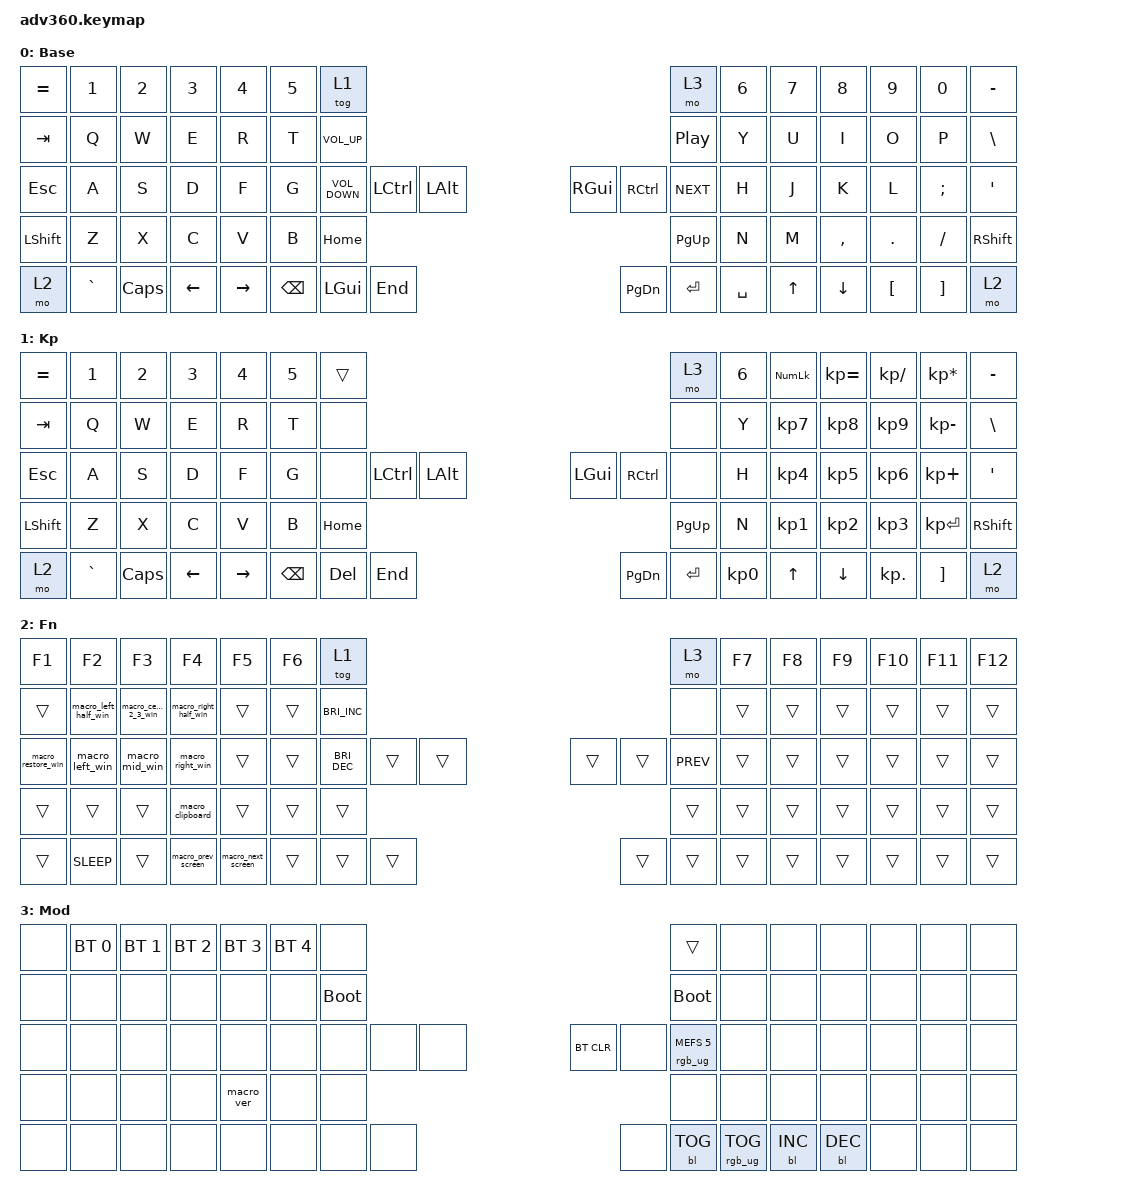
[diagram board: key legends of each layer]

/*
 * Copyright (c) 2020 The ZMK Contributors
 *
 * SPDX-License-Identifier: MIT
 */


/* THIS FILE WAS GENERATED!
 *
 * This file was generated automatically. You may or may not want to
 * edit it directly.
 */

#include <behaviors.dtsi>
#include <dt-bindings/zmk/keys.h>
#include <dt-bindings/zmk/bt.h>
#include <dt-bindings/zmk/rgb.h>
#include <dt-bindings/zmk/stp.h>
#include <dt-bindings/zmk/backlight.h>
#include <dt-bindings/zmk/pointing.h>

/ {

    behaviors {
      #include "macros.dtsi"
      #include "version.dtsi"


    hm: homerow_mods {
        compatible = "zmk,behavior-hold-tap";
        label = "HOMEROW_MODS";
        #binding-cells = <2>;
        tapping-term-ms = <200>;
        quick_tap_ms = <175>;
        flavor = "tap-preferred";
        bindings = <&kp>, <&kp>;
    };
  };

    keymap {
        compatible = "zmk,keymap";


        default_layer {
            display-name = "Base";
            bindings = <
 &kp EQUAL     &kp N1    &kp N2    &kp N3     &kp N4  &kp N5                       &tog 1                                                                        &mo 3  &kp N6  &kp N7     &kp N8    &kp N9    &kp N0  &kp MINUS
   &kp TAB      &kp Q     &kp W     &kp E      &kp R   &kp T              &kp C_VOLUME_UP                                                             &kp C_PLAY_PAUSE   &kp Y   &kp U      &kp I     &kp O     &kp P   &kp BSLH
   &kp ESC      &kp A     &kp S     &kp D      &kp F   &kp G            &kp C_VOLUME_DOWN  &kp LCTRL  &kp LALT                   &kp RGUI  &kp RCTRL        &kp C_NEXT   &kp H   &kp J      &kp K     &kp L  &kp SEMI    &kp SQT
 &kp LSHFT      &kp Z     &kp X     &kp C      &kp V   &kp B                                          &kp HOME                  &kp PG_UP                                &kp N   &kp M  &kp COMMA   &kp DOT  &kp FSLH  &kp RSHFT
     &mo 2  &kp GRAVE  &kp CAPS  &kp LEFT  &kp RIGHT                             &kp BSPC   &kp LGUI   &kp END                  &kp PG_DN  &kp ENTER         &kp SPACE          &kp UP   &kp DOWN  &kp LBKT  &kp RBKT      &mo 2
            >;
        };

        keypad {
            display-name = "Kp";
            bindings = <
 &kp EQUAL     &kp N1    &kp N2    &kp N3     &kp N4  &kp N5              &trans                                                                 &mo 3  &kp N6  &kp KP_NUM  &kp KP_EQUAL  &kp KP_DIVIDE  &kp KP_MULTIPLY  &kp MINUS
   &kp TAB      &kp Q     &kp W     &kp E      &kp R   &kp T               &none                                                                 &none   &kp Y   &kp KP_N7     &kp KP_N8      &kp KP_N9     &kp KP_MINUS   &kp BSLH
   &kp ESC      &kp A     &kp S     &kp D      &kp F   &kp G               &none  &kp LCTRL  &kp LALT                   &kp LGUI  &kp RCTRL      &none   &kp H   &kp KP_N4     &kp KP_N5      &kp KP_N6      &kp KP_PLUS    &kp SQT
 &kp LSHFT      &kp Z     &kp X     &kp C      &kp V   &kp B                                 &kp HOME                  &kp PG_UP                         &kp N   &kp KP_N1     &kp KP_N2      &kp KP_N3     &kp KP_ENTER  &kp RSHFT
     &mo 2  &kp GRAVE  &kp CAPS  &kp LEFT  &kp RIGHT                    &kp BSPC    &kp DEL   &kp END                  &kp PG_DN  &kp ENTER  &kp KP_N0              &kp UP      &kp DOWN     &kp KP_DOT         &kp RBKT      &mo 2
            >;
        };

        fn {
            display-name = "Fn";
            bindings = <
             &kp F1                &kp F2                 &kp F3                 &kp F4              &kp F5  &kp F6                          &tog 1                                                       &mo 3  &kp F7  &kp F8  &kp F9  &kp F10  &kp F11  &kp F12
             &trans  &macro_left_half_win  &macro_center_2_3_win  &macro_right_half_win              &trans  &trans            &kp C_BRIGHTNESS_INC                                                       &none  &trans  &trans  &trans   &trans   &trans   &trans
 &macro_restore_win       &macro_left_win         &macro_mid_win       &macro_right_win              &trans  &trans            &kp C_BRIGHTNESS_DEC  &trans  &trans                  &trans  &trans  &kp C_PREV  &trans  &trans  &trans   &trans   &trans   &trans
             &trans                &trans                 &trans       &macro_clipboard              &trans  &trans                                          &trans                  &trans                      &trans  &trans  &trans   &trans   &trans   &trans
             &trans           &kp C_SLEEP                 &trans     &macro_prev_screen  &macro_next_screen                                  &trans  &trans  &trans                  &trans  &trans      &trans          &trans  &trans   &trans   &trans   &trans
            >;
        };

        mod {
            display-name = "Mod";
            bindings = <
  &none  &bt BT_SEL 0  &bt BT_SEL 1  &bt BT_SEL 2  &bt BT_SEL 3  &bt BT_SEL 4                  &none                                                                          &trans   &none       &none       &none   &none   &none   &none
  &none         &none         &none         &none         &none         &none            &bootloader                                                                     &bootloader   &none       &none       &none   &none   &none   &none
  &none         &none         &none         &none         &none         &none                  &none   &none   &none                  &bt BT_CLR       &none  &rgb_ug RGB_MEFS_CMD 5   &none       &none       &none   &none   &none   &none
  &none         &none         &none         &none    &macro_ver         &none                                  &none                       &none                                       &none       &none       &none   &none   &none   &none
  &none         &none         &none         &none         &none                                &none   &none   &none                       &none  &bl BL_TOG         &rgb_ug RGB_TOG          &bl BL_INC  &bl BL_DEC   &none   &none   &none
            >;
        };

/*
    default_layer {
      display-name = "Base";
      bindings = <
        &kp EQUAL &kp N1    &kp N2   &kp N3   &kp N4     &kp N5 &tog 1                                                           &mo 3 &kp N6 &kp N7 &kp N8    &kp N9   &kp N0   &kp MINUS
        &kp TAB   &kp Q     &kp W    &kp E    &kp R      &kp T  &none                                                            &none &kp Y  &kp U  &kp I     &kp O    &kp P    &kp BSLH
        &kp ESC   &kp A     &kp S    &kp D    &kp F      &kp G  &none           &kp LCTRL &kp LALT &kp LGUI  &kp RCTRL           &none &kp H  &kp J  &kp K     &kp L    &kp SEMI &kp SQT
        &kp LSHFT &kp Z     &kp X    &kp C    &kp V      &kp B                            &kp HOME &kp PG_UP                           &kp N  &kp M  &kp COMMA &kp DOT  &kp FSLH &kp RSHFT
        &mo 2     &kp GRAVE &kp CAPS &kp LEFT &kp RIGHT                &kp BSPC &kp DEL   &kp END  &kp PG_DN &kp ENTER &kp SPACE              &kp UP &kp DOWN  &kp LBKT &kp RBKT &mo 2
      >;
    };
    keypad {
      display-name = "Kp";
      bindings = <
        &kp EQUAL &kp N1    &kp N2   &kp N3   &kp N4     &kp N5 &trans                                                           &mo 3 &kp N6 &kp KP_NUM &kp KP_EQUAL &kp KP_DIVIDE &kp KP_MULTIPLY &kp MINUS
        &kp TAB   &kp Q     &kp W    &kp E    &kp R      &kp T  &none                                                            &none &kp Y  &kp KP_N7  &kp KP_N8    &kp KP_N9     &kp KP_MINUS    &kp BSLH
        &kp ESC   &kp A     &kp S    &kp D    &kp F      &kp G  &none           &kp LCTRL &kp LALT &kp LGUI  &kp RCTRL           &none &kp H  &kp KP_N4  &kp KP_N5    &kp KP_N6     &kp KP_PLUS     &kp SQT
        &kp LSHFT &kp Z     &kp X    &kp C    &kp V      &kp B                            &kp HOME &kp PG_UP                           &kp N  &kp KP_N1  &kp KP_N2    &kp KP_N3     &kp KP_ENTER    &kp RSHFT
        &mo 2     &kp GRAVE &kp CAPS &kp LEFT &kp RIGHT                &kp BSPC &kp DEL   &kp END  &kp PG_DN &kp ENTER &kp KP_N0              &kp UP     &kp DOWN     &kp KP_DOT    &kp RBKT        &mo 2
      >;
    };
    fn {
      display-name = "Fn";
      bindings = <
        &kp F1 &kp F2 &kp F3 &kp F4 &kp F5 &kp F6 &tog 1                                           &mo 3 &kp F7 &kp F8 &kp F9 &kp F10 &kp F11 &kp F12
        &trans &trans &trans &trans &trans &trans  &none                                           &none &trans &trans &trans &trans  &trans  &trans
        &trans &trans &trans &trans &trans &trans  &none        &trans &trans &trans &trans        &none &trans &trans &trans &trans  &trans  &trans
        &trans &trans &trans &trans &trans &trans                      &trans &trans                     &trans &trans &trans &trans  &trans  &trans
        &trans &trans &trans &trans &trans               &trans &trans &trans &trans &trans &trans              &trans &trans &trans  &trans  &trans
      >;
    };
    mod {
      display-name = "Mod";
      bindings = <
        &none &bt BT_SEL 0 &bt BT_SEL 1 &bt BT_SEL 2 &bt BT_SEL 3 &bt BT_SEL 4 &none                                                                     &trans                 &none        &none        &none        &none &none &none
        &none &none        &none        &none        &none        &none        &bootloader                                                               &bootloader            &none        &none        &none        &none &none &none
        &studio_unlock &none        &none        &none        &none        &none        &none                   &none &none &bt BT_CLR &none                      &stp STP_BAT &none        &none        &none        &none &none &none
        &none &none        &none        &none        &macro_ver   &none                                      &none &none                                                        &none        &none        &none        &none &none &none
        &none &none        &none        &none        &none                                       &none &none &none &none      &bl BL_TOG &rgb_ug RGB_TOG                                     &bl BL_INC   &bl BL_DEC   &none &none &none
      >;
    };
*/
    extra1 { 
      display-name = "Red";    
      status = "reserved";
    };

    extra2 { 
      display-name = "Purple";    
      status = "reserved";
    };

    extra3 { 
      display-name = "Cyan";    
      status = "reserved";
    };

    extra4 { 
      display-name = "Yellow";    
      status = "reserved";
    };
  };

};
